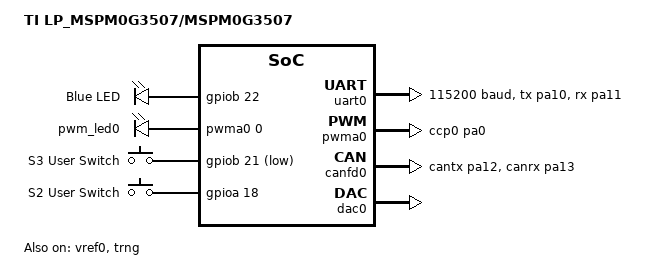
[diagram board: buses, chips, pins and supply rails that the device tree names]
/*
 * Copyright (c) 2025 Texas Instruments
 * Copyright (c) 2025 Linumiz
 *
 * SPDX-License-Identifier: Apache-2.0
 */

/dts-v1/;

#include <ti/mspm0/g/mspm0g3507.dtsi>
#include <ti/mspm0/g/mspm0g1x0x_g3x0x-pinctrl.dtsi>
#include <zephyr/dt-bindings/clock/mspm0_clock.h>
#include <zephyr/dt-bindings/gpio/gpio.h>
#include <zephyr/dt-bindings/pwm/pwm.h>
#include <zephyr/dt-bindings/input/input-event-codes.h>

/ {
	model = "TI LP_MSPM0G3507/MSPM0G3507";
	compatible = "ti,mspm0g3507";

	aliases {
		led0 = &led0;
		pwm-led0 = &pwm_led0;
		watchdog0 = &wdt0;
		watchdog1 = &wdt1;
		sw0 = &btn0;
	};

	chosen {
		zephyr,sram = &sram0;
		zephyr,flash = &flash0;
		zephyr,console = &uart0;
		zephyr,shell-uart = &uart0;
		zephyr,code-partition = &slot0_partition;
		zephyr,canbus = &canfd0;
		zephyr,entropy = &trng;
	};

	leds {
		compatible = "gpio-leds";

		led0: led_0 {
			gpios = <&gpiob 22 GPIO_ACTIVE_HIGH>;
			label = "Blue LED";
		};
	};

	pwm_leds {
		compatible = "pwm-leds";

		pwm_led0: pwm_led0 {
			pwms = <&pwma0 0 PWM_MSEC(100) PWM_POLARITY_NORMAL>;
		};
	};

	buttons {
		compatible = "gpio-keys";

		/* S3 onboard switch */
		btn0: btn_0 {
			gpios = <&gpiob 21 (GPIO_ACTIVE_LOW | GPIO_PULL_UP)>;
			label = "S3 User Switch";
			zephyr,code = <INPUT_KEY_0>;
		};

		/* S2 onboard switch */
		btn1: btn_1 {
			gpios = <&gpioa 18 GPIO_ACTIVE_HIGH>;
			label = "S2 User Switch";
			zephyr,code = <INPUT_KEY_1>;
		};
	};

	zephyr,user {
		dac = <&dac0>;
		dac-channel-id = <0>;
		dac-resolution = <12>;
	};
};

&cpu0 {
	clock-frequency = <DT_FREQ_M(80)>;
};

&ulpclk {
	clk-div = <2>;
};

&mclk {
	clock-frequency = <DT_FREQ_M(80)>;
	clocks = <&hsclk>;
};

&hsclk {
	clocks = <&syspll>;
	status = "okay";
};

&mfpclk {
	status = "okay";
};

&canclk {
	clocks = <&syspll>;
	status = "okay";
};

&flash0 {
	status = "okay";

	partitions {
		compatible = "fixed-partitions";
		#address-cells = <1>;
		#size-cells = <1>;

		boot_partition: partition@0 {
			label = "mcuboot";
			reg = <0x00000000 0x8000>;
		};

		slot0_partition: partition@8000 {
			label = "image-0";
			reg = <0x00008000 0xc000>;
		};

		slot1_partition: partition@14000 {
			label = "image-1";
			reg = <0x00014000 0xc000>;
		};
	};
};

&pinctrl {
	status = "okay";
};

&gpioa {
	status = "okay";
};

&gpiob {
	status = "okay";
};

&uart0 {
	status = "okay";

	current-speed = <115200>;
	pinctrl-0 = <&uart0_tx_pa10 &uart0_rx_pa11>;
	pinctrl-names = "default";
};

/*
 * Slow TIMA0 to 39,062 Hz so LED PWM periods (20 ms - 1.68 s)
 * fit in the 16-bit counter: 80 MHz / (div=8 * (prescaler+1)=256)
 */
&tima0 {
	ti,clk-div = <8>;
	ti,clk-prescaler = <255>;
};

&pwma0 {
	status = "okay";

	pinctrl-0 = <&tima0_ccp0_pa0>;
	pinctrl-names = "default";
	ti,cc-index = <0>;
	ti,pwm-mode = "EDGE_ALIGN";
	ti,period = <3906>; /* ~100 ms at 39,062 Hz */
};

&canfd0 {
	status = "okay";
	pinctrl-0 = <&canfd0_cantx_pa12 &canfd0_canrx_pa13>;
	pinctrl-names = "default";
};

&dac0 {
	status = "okay";
	fifo-enable;
	sample-rate-hz = <1000>;
};

&vref0 {
	status = "okay";
	pinctrl-0 = <&analog_pa23>;
	pinctrl-names = "default";
};

&trng {
	status = "okay";
};

&i2c1 {
	pinctrl-0 = <&i2c1_scl_pa17 &i2c1_sda_pa16>;
	pinctrl-names = "default";
	status = "disabled";
};

&adc0 {
	dmas = <&dma 6 23>;
};
